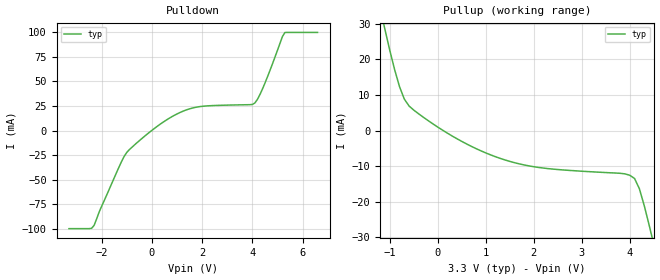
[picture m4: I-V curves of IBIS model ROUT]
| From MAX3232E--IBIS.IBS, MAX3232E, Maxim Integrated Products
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|   Transceiver Inverting Receiver Output
[Model]   ROUT
|Signals   R2OUT, R1OUT
Model_type   Output
Polarity   Inverting
Vmeas = 1.65V
C_comp   3.30pF   NA   NA
[Temperature Range]   25   0   70
[Voltage Range]   3.30V   3.00V   3.60V
[Pullup Reference]   3.30V   3.00V   3.60V
[Pulldown Reference]   0.00V   0.00V   0.00V
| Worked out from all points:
|   slope of the pulldown table from 0 to 0.495 V, typ, clamps not added: 53.9 ohm
|   slope of the pullup table from 0 to 0.495 V, typ, clamps not added: 125 ohm
[Pullup]
| Note that the[Pulldown]voltage table is referenced to Vcc
| and is calculated using Vtable=Vcc - Vmeasured.
| Also, the test setup clamps the supply current to 100mA to
| protect the system.
| V(V)  I(typ)   I(min)  I(max)
-3.3V     100mA      NA         NA
-1.2V     34.3mA     NA         NA
-1.1V     28.2mA     NA         NA
-800mV    12.36mA    NA         NA
-600mV    6.873mA    NA         NA
400mV     -2.319mA   NA         NA
1.8V      -9.661mA   NA         NA
4V        -12.55mA   NA         NA
4.2V      -16.31mA   NA         NA
4.4V      -26.32mA   NA         NA
4.5V      -31.92mA   NA         NA
6.6V      -100mA     NA         NA
[Pulldown]
| Note that the[Pulldown]voltage table is referenced to Gnd.
| Also, the test setup clamps the supply current to 100mA to
| protect the system.
| V(V)  I(typ)   I(min)  I(max)
-3.3V     -100mA     NA         NA
-2.5V     -100mA     NA         NA
-2.3V     -96.76mA   NA         NA
-1.1V     -26.32mA   NA         NA
-100mV    -1.889mA   NA         NA
800mV     14.12mA    NA         NA
1.6V      22.79mA    NA         NA
4.1V      28.01mA    NA         NA
4.4V      42mA       NA         NA
5.2V      95.72mA    NA         NA
5.3V      99.89mA    NA         NA
6.6V      100mA      NA         NA
[Ramp]
| variable   typ   min   max
dV/dt_r   1.98/210.30E-09   NA   NA
dV/dt_f   1.98/091.61E-09   NA   NA
R_load = 3E+03Ohms
|End [Model] ROUT
|End [Component] MAX3232E
